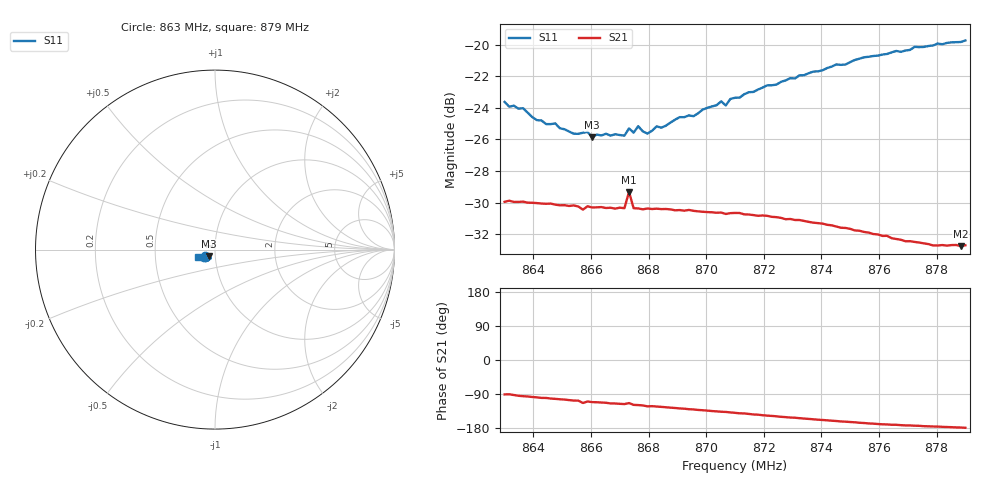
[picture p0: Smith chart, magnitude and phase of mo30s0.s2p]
# HZ S RI R 50
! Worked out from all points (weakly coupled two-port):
!   101 points, 863 MHz to 879 MHz, reference 50 ohm
!   highest |S21| = -29.33 dB at 867.32 MHz (marker M1); lowest = -32.8 dB at 878.84 MHz (marker M2)
!   lowest |S11| = -25.9 dB at 866.04 MHz (marker M3), VSWR 1.11, Z = 46.4 - j3.37 ohm
!   |S11| at or under -10 dB: start of sweep to end of sweep
!   S12 and S22 are empty: the file has one direction only
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8.63e8  -0.0551 -0.0361  -0.000443 -0.0318  0 0  0 0
8.6316e8  -0.0515 -0.0373  -0.000241 -0.032  0 0  0 0
8.6364e8  -0.0522 -0.0351  -0.00302 -0.0317  0 0  0 0
8.6444e8  -0.0447 -0.0337  -0.00552 -0.0308  0 0  0 0
8.6476e8  -0.0443 -0.0347  -0.00678 -0.0304  0 0  0 0
8.654e8  -0.0393 -0.0344  -0.00909 -0.0296  0 0  0 0
8.6572e8  -0.0372 -0.0371  -0.0119 -0.0276  0 0  0 0
8.6604e8  -0.0357 -0.0362  -0.011 -0.0284  0 0  0 0
8.6716e8  -0.0318 -0.0405  -0.0135 -0.0272  0 0  0 0
8.6732e8  -0.0232 -0.0491  -0.0137 -0.0313  0 0  0 0
8.6748e8  -0.0312 -0.0424  -0.0144 -0.0267  0 0  0 0
8.6764e8  -0.033 -0.0442  -0.0147 -0.0265  0 0  0 0
8.6796e8  -0.03 -0.0428  -0.0162 -0.0256  0 0  0 0
8.6828e8  -0.0304 -0.046  -0.0164 -0.0254  0 0  0 0
8.6844e8  -0.0299 -0.0457  -0.0167 -0.0251  0 0  0 0
8.7052e8  -0.0345 -0.0564  -0.0213 -0.0202  0 0  0 0
8.7068e8  -0.0331 -0.055  -0.0213 -0.0198  0 0  0 0
8.71e8  -0.0362 -0.0574  -0.0223 -0.0191  0 0  0 0
8.7372e8  -0.0509 -0.0644  -0.025 -0.0109  0 0  0 0
8.7644e8  -0.0734 -0.0595  -0.0241 -0.00387  0 0  0 0
8.7884e8  -0.0914 -0.0451  -0.023 -0.000726  0 0  0 0
8.79e8  -0.0936 -0.0432  -0.0232 -0.000435  0 0  0 0
